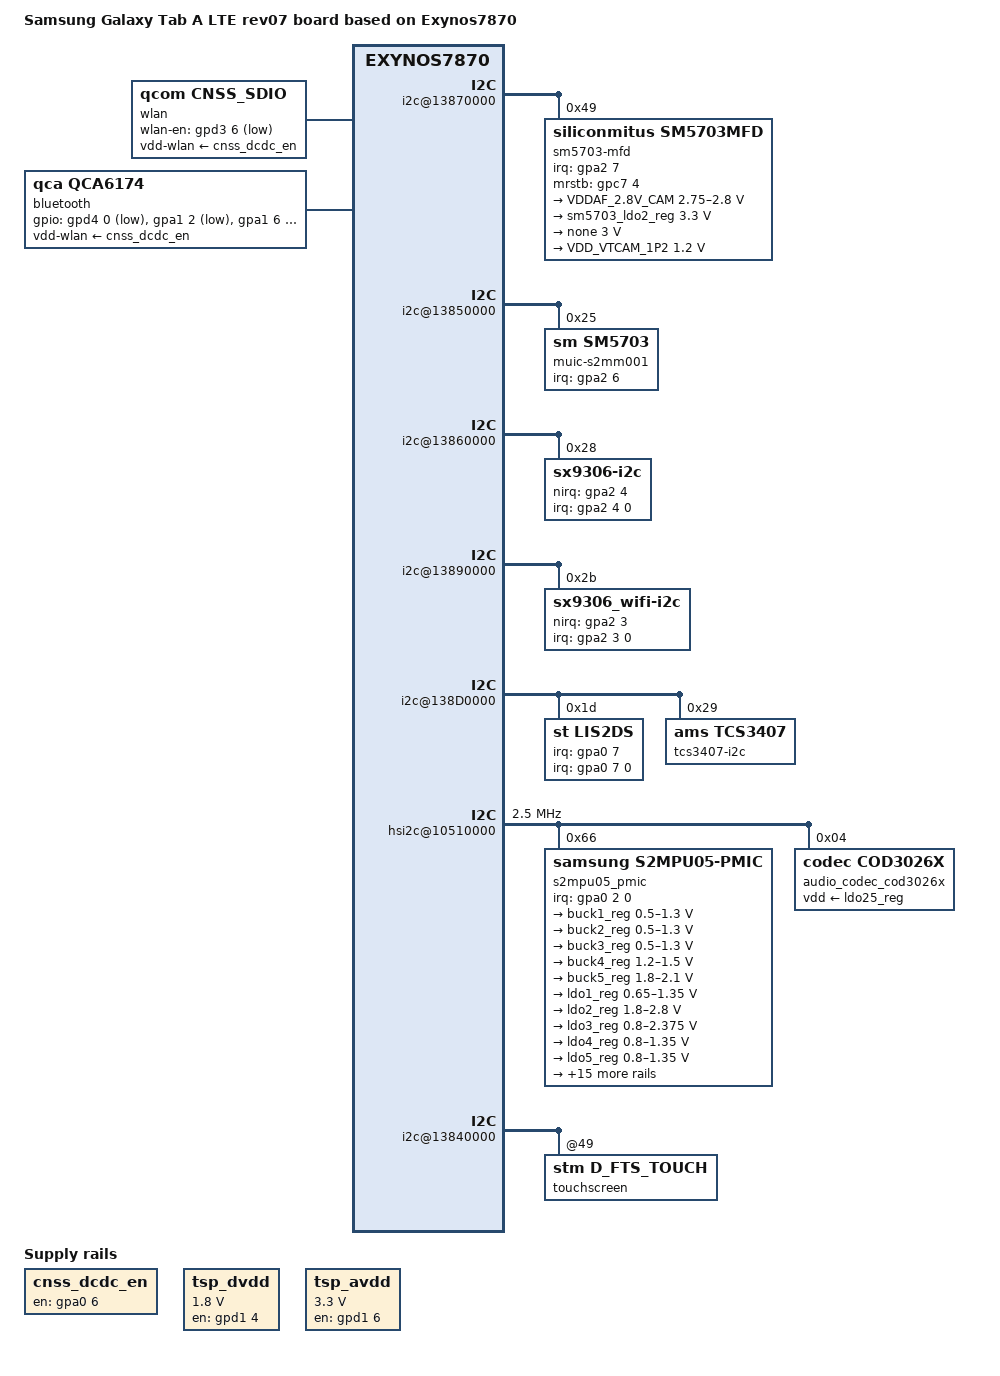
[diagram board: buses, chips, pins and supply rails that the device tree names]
/*
 * SAMSUNG UNIVERSAL8890 board device tree source
 *
 * Copyright (c) 2013 Samsung Electronics Co., Ltd.
 *		http://www.samsung.com
 *
 * This program is free software; you can redistribute it and/or modify
 * it under the terms of the GNU General Public License version 2 as
 * published by the Free Software Foundation.
*/

/dts-v1/;
#include "exynos7870-gtaxl_common.dtsi"
#include "modem-ss315ap-pdata.dtsi"
#include "exynos7870-gtaxllte_eur_open_gpio_07.dtsi"
#include "exynos7870-gtaxllte_eur_open_battery_07.dtsi"
#include "exynos7870-gtaxl_sound_07.dtsi"

/ {
	model = "Samsung Galaxy Tab A LTE rev07 board based on Exynos7870";
        model_info-chip = <7870>;
        model_info-platform = "android";
        model_info-subtype = "samsung";
        model_info-hw_rev = <7>;
        model_info-hw_rev_end = <255>;
	compatible = "samsung, Galaxy Tab A LTE 07", "samsung,exynos7870";

	cnss_dcdc_en: cnss_dcdc_en {
		compatible = "regulator-fixed";
		regulator-name = "cnss_dcdc_en";
		startup-delay-us = <4000>;
		enable-active-high;
		gpio = <&gpa0 6 0>;
	};

	serial_2: uart@13820000 {
		samsung,alive-io;
	};

	i2c@13870000 {
		status = "okay";
		sm5703-mfd@49 {
			compatible = "siliconmitus,sm5703mfd";
			reg = <0x49>;
			pinctrl-names = "default";
			pinctrl-0 = <&chg_en &if_pmic_irq>;
			sm5703,irq-gpio = <&gpa2 7 0>;
			sm5703,mrstb-gpio = <&gpc7 4 0>;

			sm5703_ldo1 {
				compatible = "siliconmitus,sm5703-ldo1";
				regulator-name = "VDDAF_2.8V_CAM"; /* change name by yourself */
				regulator-min-microvolt = <2750000>;
				regulator-max-microvolt = <2800000>; /* max == min then apply_uV = 1 */
				/* regulator-microvolt-offset = < >; optional*/
				/* regulator-boot-on;*/ /* = "yes"; optional, exist = enabled */
				/* regulator-always-on;*/ /* = "yes"; optional, exist = enabled */
				/* regulator-ramp-delay = <100>; optional*/
			};

			sm5703_ldo2_reg: sm5703_ldo2 {
				compatible = "siliconmitus,sm5703-ldo2";
				regulator-name = "VDD_MOTOR_3.3"; /* change name by yourself */
				regulator-min-microvolt = <3300000>;
				regulator-max-microvolt = <3300000>; /* max == min then apply_uV = 1 */
				/* regulator-microvolt-offset = < >; optional*/
				/* regulator-boot-on;   = "yes"; optional, exist = enabled */
				/* regulator-always-on;	"yes"; optional, exist = enabled */
				/* regulator-ramp-delay = <100>; optional*/
			};

			sm5703_ldo3 {
				compatible = "siliconmitus,sm5703-ldo3";
				regulator-name = "none"; /* change name by yourself */
				regulator-min-microvolt = <3000000>;
				regulator-max-microvolt = <3000000>; /* max == min then apply_uV = 1 */
				/* regulator-microvolt-offset = < >; optional*/
				/* regulator-boot-on = "yes"; optional, exist = enabled */
				/* regulator-always-on = "yes"; optional, exist = enabled */
				/* regulator-ramp-delay = <100>; optional*/
			};

			sm5703_buck {
				compatible = "siliconmitus,sm5703-buck";
				regulator-name = "VDD_VTCAM_1P2"; /* change name by yourself */
				regulator-min-microvolt = <1200000>;
				regulator-max-microvolt = <1200000>; /* max == min then apply_uV = 1 */
				/* regulator-microvolt-offset = < >; optional*/
				/* regulator-boot-on = "yes"; optional, exist = enabled */
				/* regulator-always-on = "yes"; optional, exist = enabled */
				/* regulator-ramp-delay = <100>; optional*/
			};

			sm5703_fled {
				compatible = "siliconmitus,sm5703-fled";
				enable = <1 1>;
				flash_current = <1200>;
				movie_current = <150>;
				torch_current = <150>;
				sm5703,led1-gpio = <&gpd3 5 0>;
				sm5703,led2-gpio = <&gpd3 7 0>;
			};
		};
	};

	i2c@13850000 {
		status = "okay";

		muic-s2mm001@25 {
			compatible = "sm,sm5703";
			reg = <0x25>;
			pinctrl-names = "default";
			pinctrl-0 = <&muic_irq>;
			sm5703,irq-gpio = <&gpa2 6 0>;
		};
	};

	pinctrl@139F0000 {
		acc_int: acc_int {
			samsung,pins = "gpa0-7";
			samsung,pin-function = <0xF>;
			samsung,pin-pud = <0>;
			samsung,pin-drv = <0>;
		};

		gripwifi_int: gripwifi_int {
			samsung,pins = "gpa2-3";
			samsung,pin-function = <0xF>;
			samsung,pin-pud = <0>;
			samsung,pin-drv = <0>;
		};

		grip_int: grip_int {
			samsung,pins = "gpa2-4";
			samsung,pin-function = <0xF>;
			samsung,pin-pud = <0>;
			samsung,pin-drv = <0>;
		};

		muic_irq: muic_irq {
			samsung,pins = "gpa2-6";
			samsung,pin-function = <0x0>;
			samsung,pin-pud = <3>;
		};
	};

	i2c@13860000 {
		samsung,i2c-sda-delay = <100>;
		samsung,i2c-max-bus-freq = <400000>;
		status = "okay";

		sx9306-i2c@28 {
			compatible = "sx9306-i2c";
			reg = <0x28>;
			pinctrl-names = "default";
			pinctrl-0 = <&grip_int>;
			interrupt-parent = <&gpa2>;
			interrupts = <4 0 0>;
			sx9306-i2c,nirq-gpio = <&gpa2 4 0>;
			sx9306-i2c,ctrl0 = <0x24>;
			sx9306-i2c,ctrl2 = <0x57>;
			sx9306-i2c,ctrl3 = <0x02>;
			sx9306-i2c,ctrl5 = <0x17>;
			sx9306-i2c,normal-thd = <8>; /* normal touch threshold */
			sx9306-i2c,ch-main = <2>; /* channel number */
			sx9306-i2c,ch-sub1 = <0xff>;  /*oxff: Not be used sub channel */
		};
	};

	i2c@13890000 {
		samsung,i2c-sda-delay = <100>;
		samsung,i2c-max-bus-freq = <400000>;
		status = "okay";

		sx9306_wifi-i2c@2B {
			compatible = "sx9306_wifi-i2c";
			reg = <0x2B>;
			pinctrl-names = "default";
			pinctrl-0 = <&gripwifi_int>;
			interrupt-parent = <&gpa2>;
			interrupts = <3 0 0>;
			sx9306_wifi-i2c,nirq-gpio = <&gpa2 3 0>;
			sx9306_wifi-i2c,ctrl0 = <0x24>;
			sx9306_wifi-i2c,ctrl2 = <0x57>;
			sx9306_wifi-i2c,ctrl3 = <0x02>;
			sx9306_wifi-i2c,ctrl5 = <0x17>;
			sx9306_wifi-i2c,normal-thd = <8>; /* normal touch threshold */
			sx9306_wifi-i2c,ch-main = <2>; /* channel number */
			sx9306_wifi-i2c,ch-sub1 = <0xff>;  /*oxff: Not be used sub channel */
		};
	};

	i2c@138D0000 {
		samsung,i2c-sda-delay = <100>;
		samsung,i2c-max-bus-freq = <400000>;
		status = "okay";

		lis2ds@1D {
			compatible = "st,lis2ds";
			reg = <0x1D>;
			pinctrl-names = "default";
			pinctrl-0 = <&acc_int>;
			interrupt-parent = <&gpa0>;
			interrupts = <7 0 0>;
			st,irq_gpio = <&gpa0 7 0>;
			st,orientation = <2 1 1 1 2 1 1 1 0>;
		};
	
		tcs3407-i2c@29 {
			compatible = "ams,tcs3407";
			reg = <0x29>;
		};
	};

	hsi2c@10510000 {
		status = "okay";
		samsung,hs-mode;
		clock-frequency = <2500000>;
		samsung,hsi2c-batcher;
		#address-cells = <1>;
		#size-cells = <0>;

		s2mpu05_pmic@66 {
			compatible = "samsung,s2mpu05-pmic";
			reg = <0x66>;
			ten-bit-address;
			interrupts = <2 0 0>;
			interrupt-parent = <&gpa0>;
			pinctrl-names = "default";
			pinctrl-0 = <&pmic_irq &pm_wrsti>;
			g3d_en = <1>; /* 1 : enable , 0 : disable */
			buck2en_pin = "etc1-3";
			buck2en_addr = "139B0080.pinctrl";
			/* RTC: wtsr/smpl */
			wtsr_en = <1>; /* enable */
			smpl_en = <1>; /* enable */
			wtsr_timer_val = <3>;   /* 1000ms */
			smpl_timer_val = <0>;   /* 100ms */
			check_jigon = <0>; /* do not check jigon */
			/* RTC: If it's first boot, reset rtc to 1/1/2016 12:00:00(Fri) */
			init_time,sec = <0>;
			init_time,min = <0>;
			init_time,hour = <12>;
			init_time,mday = <1>;
			init_time,mon = <0>;
			init_time,year = <116>;
			init_time,wday = <5>;

			regulators {
				buck1_reg: BUCK1 {
					regulator-name = "BUCK1";
					regulator-min-microvolt = <500000>;
					regulator-max-microvolt = <1300000>;
					regulator-always-on;
					regulator-boot-on;
					regulator-ramp-delay = <12000>;
					regulator-initial-mode = <1>;
					regulator-expected-consumer = <2>;
				};

				buck2_reg: BUCK2 {
					regulator-name = "BUCK2";
					regulator-min-microvolt = <500000>;
					regulator-max-microvolt = <1300000>;
					regulator-always-on;
					regulator-boot-on;
					regulator-ramp-delay = <12000>;
					regulator-initial-mode = <2>;		/* MIF mode */
					regulator-expected-consumer = <4>;
				};

				buck3_reg: BUCK3 {
					regulator-name = "BUCK3";
					regulator-min-microvolt = <500000>;
					regulator-max-microvolt = <1300000>;
					regulator-always-on;
					regulator-boot-on;
					regulator-ramp-delay = <12000>;
					regulator-initial-mode = <2>;
				};

				buck4_reg: BUCK4 {
					regulator-name = "BUCK4";
					regulator-min-microvolt = <1200000>;
					regulator-max-microvolt = <1500000>;
					regulator-always-on;
					regulator-boot-on;
					regulator-ramp-delay = <12000>;
					regulator-initial-mode = <2>;
				};

				buck5_reg: BUCK5 {
					regulator-name = "BUCK5";
					regulator-min-microvolt = <1800000>;
					regulator-max-microvolt = <2100000>;
					regulator-always-on;
					regulator-boot-on;
					regulator-ramp-delay = <12000>;
					regulator-initial-mode = <2>;
				};

				ldo1_reg: LDO1 {
					regulator-name = "vdd_ldo1";
					regulator-min-microvolt = <650000>;
					regulator-max-microvolt = <1350000>;
					regulator-always-on;
					regulator-boot-on;
					regulator-ramp-delay = <12000>;
					regulator-initial-mode = <3>;
				};

				ldo2_reg: LDO2 {
					regulator-name = "vqmmc";
					regulator-min-microvolt = <1800000>;
					regulator-max-microvolt = <2800000>;
					regulator-ramp-delay = <12000>;
					regulator-initial-mode = <0>;
				};

				ldo3_reg: LDO3 {
					regulator-name = "vdd_ldo3";
					regulator-min-microvolt = <800000>;
					regulator-max-microvolt = <2375000>;
					regulator-boot-on;
					regulator-always-on;
					regulator-ramp-delay = <12000>;
					regulator-initial-mode = <3>;
				};

				ldo4_reg: LDO4 {
					regulator-name = "vdd_ldo4";
					regulator-min-microvolt = <800000>;
					regulator-max-microvolt = <1350000>;
					regulator-boot-on;
					regulator-always-on;
					regulator-ramp-delay = <12000>;
					regulator-initial-mode = <1>;
				};

				ldo5_reg: LDO5 {
					regulator-name = "vdd_ldo5";
					regulator-min-microvolt = <800000>;
					regulator-max-microvolt = <1350000>;
					regulator-boot-on;
					regulator-always-on;
					regulator-ramp-delay = <12000>;
					regulator-initial-mode = <3>;
				};

				ldo6_reg: LDO6 {
					regulator-name = "vdd_ldo6";
					regulator-min-microvolt = <800000>;
					regulator-max-microvolt = <1350000>;
					regulator-boot-on;
					regulator-always-on;
					regulator-ramp-delay = <12000>;
					regulator-initial-mode = <1>;
				};

				ldo7_reg: LDO7 {
					regulator-name = "vdd_ldo7";
					regulator-min-microvolt = <800000>;
					regulator-max-microvolt = <2375000>;
					regulator-boot-on;
					regulator-always-on;
					regulator-ramp-delay = <12000>;
					regulator-initial-mode = <1>;
				};

				ldo8_reg: LDO8 {
					regulator-name = "vdd_ldo8";
					regulator-min-microvolt = <1800000>;
					regulator-max-microvolt = <3375000>;
					regulator-boot-on;
					regulator-always-on;
					regulator-ramp-delay = <12000>;
					regulator-initial-mode = <1>;
				};

				ldo9_reg: LDO9 {
					regulator-name = "vdd_ldo9";
					regulator-min-microvolt = <650000>;
					regulator-max-microvolt = <1350000>;
					regulator-always-on;
					regulator-ramp-delay = <12000>;
					regulator-initial-mode = <1>;
				};

				ldo10_reg: LDO10 {
					regulator-name = "vdd_ldo10";
					regulator-min-microvolt = <650000>;
					regulator-max-microvolt = <1350000>;
					regulator-always-on;
					regulator-ramp-delay = <12000>;
					regulator-initial-mode = <1>;
				};

				ldo25_reg: LDO25 {
					regulator-name = "VDD_CODEC_1P8";
					regulator-min-microvolt = <1800000>;
					regulator-max-microvolt = <1800000>;
					regulator-always-on;
					regulator-initial-mode = <3>;
				};

				ldo26_reg: LDO26 {
					regulator-name = "vemmc";
					regulator-min-microvolt = <1800000>;
					regulator-max-microvolt = <3375000>;
					regulator-boot-on;
					regulator-ramp-delay = <12000>;
					regulator-initial-mode = <3>;
				};

				ldo27_reg: LDO27 {
					regulator-name = "vqemmc";
					regulator-min-microvolt = <800000>;
					regulator-max-microvolt = <2375000>;
					regulator-boot-on;
					regulator-ramp-delay = <12000>;
					regulator-initial-mode = <3>;
				};

				ldo29_reg: LDO29 {
					regulator-name = "VDD_CAM_AF_2P8";
					regulator-min-microvolt = <2800000>;
					regulator-max-microvolt = <2800000>;
					regulator-initial-mode = <0>;
				};

				ldo30_reg: LDO30 {
					regulator-name = "VDD_CAM_CORE_1P2";
					regulator-min-microvolt = <1200000>;
					regulator-max-microvolt = <1200000>;
					regulator-initial-mode = <0>;
				};

				ldo31_reg: LDO31 {
					regulator-name = "vdd_ldo31";
					regulator-min-microvolt = <2800000>;
					regulator-max-microvolt = <2800000>;
					regulator-boot-on;
					regulator-always-on;
					regulator-ramp-delay = <12000>;
					regulator-initial-mode = <3>;
				};

				ldo32_reg: LDO32 {
					regulator-name = "VDD_CODEC_3P3";
					regulator-min-microvolt = <3300000>;
					regulator-max-microvolt = <3300000>;
					regulator-always-on;
					regulator-initial-mode = <3>;
				};

				ldo33_reg: LDO33 {
					regulator-name = "VDD_SENSOR_2P8";
					regulator-min-microvolt = <2800000>;
					regulator-max-microvolt = <2800000>;
					regulator-initial-mode = <0>;
				};

				ldo34_reg: LDO34 {
					regulator-name = "VDDIO_1.8V_CAM";
					regulator-min-microvolt = <1800000>;
					regulator-max-microvolt = <1800000>;
					regulator-initial-mode = <0>;
				};

				ldo35_reg: LDO35 {
					regulator-name = "LCD_1P8";
					regulator-min-microvolt = <1800000>;
					regulator-max-microvolt = <1800000>;
					regulator-boot-on;
					regulator-initial-mode = <3>;
				};
			};
		};

		audio_codec_cod3026x: cod3026x@04 {
			compatible = "codec,cod3026x";
			reg = <0x04>;
			ten-bit-address;
			vdd-supply = <&ldo25_reg>;
//			pinctrl-names = "default";
//			pinctrl-0 = <&cod3026_irq>;
//			interrupt-parent = <&gpa0>;
//			gpios = <&gpa0 4 0xf>;
			mic-bias1-voltage = <3>;
			mic-bias2-voltage = <3>;
			mic-bias-ldo-voltage = <3>;
		};
	};

	/delete-node/ earjack;

	wlan {
		compatible = "qcom,cnss_sdio";
		wlan-en-gpio = <&gpd3 6 0x1>; /* WLAN_EN */
		wlan-host-wake = <&gpa2 2 0>; /* WLAN_HOST_WAKE */
		vdd-wlan-supply = <&cnss_dcdc_en>; /* DCDC_EN regulator */
		pinctrl-names = "default";
		pinctrl-0 = <&cnss_wlanen &cfg_wlanhostwake>;
		status = "okay";
	};

	pinctrl@13750000 {
		sd0_rdqs: sd0-rdqs {
			samsung,pins = "gpr0-2";
			samsung,pin-pud = <1>;
		};

		sd1_clk: sd1-clk {
			samsung,pin-pud-pdn = <3>;
			samsung,pin-drv = <1>;
		};

		sd1_cmd: sd1-cmd {
			samsung,pin-pud-pdn = <3>;
			samsung,pin-drv = <1>;
		};

		sd1_bus1: sd1-bus-width1 {
			samsung,pin-pud = <3>;
			samsung,pin-drv = <1>;
		};

		sd1_bus4: sd1-bus-width4 {
			samsung,pin-pud = <3>;
			samsung,pin-drv = <1>;
		};
	};

	pinctrl@139B0000 {
		hs_i2c6_bus: hs-i2c6-bus {
			samsung,pins = "gpf2-0", "gpf2-1";
			samsung,pin-function = <2>;
			samsung,pin-pud = <3>;
			samsung,pin-drv = <0>;
		};
	};

	bluetooth {
		compatible = "qca,qca6174";
		gpios = <&gpd4 0 0x1	/*BT_EN*/
				&gpa1 2 0x1	/*BT_WAKE*/
				&gpa1 6 0xF	/*BT_HOST_WAKE*/ >;
		vdd-wlan-supply = <&cnss_dcdc_en>; /* DCDC_EN regulator */
		pinctrl-names = "default";
		pinctrl-0=<&bt_hostwake &bt_btwake &bt_en>;
		status = "okay";
	};

	pinctrl@139B0000 {
		codec_i2c: codec-i2c {
			samsung,pins ="gpc1-2", "gpc1-3";
			samsung,pin-function = <2>;
			samsung,pin-pud = <0>;
			samsung,pin-drv = <0>;
		};

		codec_ldoena: codec-ldoena {
			samsung,pins ="gpd3-2";
			samsung,pin-function = <1>;
			samsung,pin-pud = <0>;
			samsung,pin-pud-pdn = <0>;
			samsung,pin-con-pdn = <3>;
			samsung,pin-val = <1>;
		};

		codec_reset: codec-reset {
			samsung,pins ="gpd3-3";
			samsung,pin-function = <1>;
			samsung,pin-pud = <0>;
			samsung,pin-pud-pdn = <0>;
			samsung,pin-con-pdn = <3>;
			samsung,pin-val = <1>;
		};
	};

	sec_vib {
		compatible = "sec_vib";
		sec_vib_pdata {
			status = "okay";
			sec_vib,max_timeout = <10000>;
			sec_vib,ldo_type = <0>;		/* 0: pmic ldo, 1: external ldo */
			sec_vib,regulator = "VDD_MOTOR_3.3";
		};
	};

	tsp_dvdd {
		compatible = "regulator-fixed";
		regulator-name = "tsp_dvdd";
		regulator-min-microvolt = <1800000>;
		regulator-max-microvolt = <1800000>;
		gpio = <&gpd1 4 0>;
		enable-active-high;
	};

	tsp_avdd {
		compatible = "regulator-fixed";
		regulator-name = "tsp_avdd";
		regulator-min-microvolt = <3300000>;
		regulator-max-microvolt = <3300000>;
		gpio = <&gpd1 6 0>;
		enable-active-high;
	};

	i2c@13840000 {
		touchscreen@49 {
			compatible = "stm,d_fts_touch";
			stm,project_name = "gtaxl", "T585";
			stm,regulator_dvdd = "tsp_dvdd";
			stm,regulator_avdd = "tsp_avdd";
			stm,firmware_name = "tsp_stm/fts1ba90a_gtaxl.fw";
			stm,tclm_level = <2>;
			stm,afe_base = <0x0E0B>;
			stm,chip_on_board;
		};
	};
};
